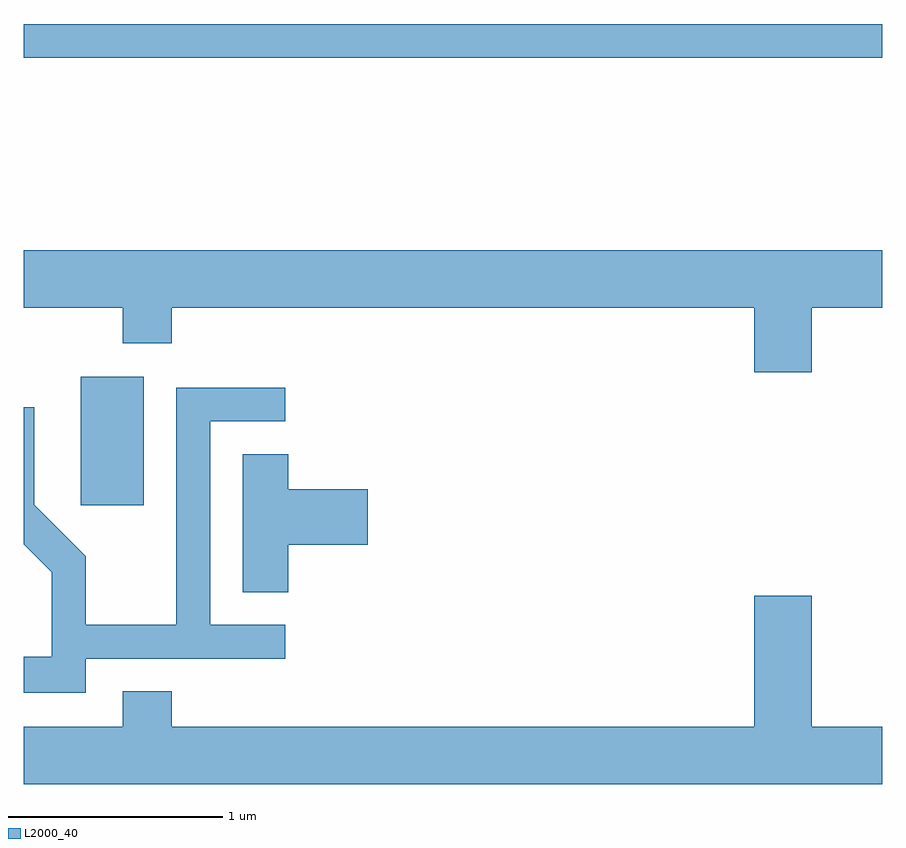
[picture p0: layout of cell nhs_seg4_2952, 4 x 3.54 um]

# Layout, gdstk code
import gdstk
lib = gdstk.Library(unit=1e-6, precision=1e-09)
def R(c, l, rs):  # rectangles x0, y0, x1, y1
    for r in rs: c.add(gdstk.rectangle(r[:2], r[2:], *l))
def P(c, l, *ps):  # polygons
    for p in ps: c.add(gdstk.Polygon(p, *l))
L2000_40 = (2000, 40)

nhs_seg4_2952 = lib.new_cell('nhs_seg4_2952')
R(nhs_seg4_2952, L2000_40, [(271.876,1311.576,272.169,1312.174), (271.611,1313.661,275.611,1313.819)])
P(nhs_seg4_2952, L2000_40, [(275.284,1312.496),(275.611,1312.496),(275.611,1312.764),(271.611,1312.764),(271.611,1312.496),(272.071,1312.496),(272.071,1312.331),(272.299,1312.331),(272.299,1312.496),(275.016,1312.496),(275.016,1312.196),(275.284,1312.196)],
  [(271.899,1310.861),(272.828,1310.861),(272.828,1311.019),(272.479,1311.019),(272.479,1311.966),(272.828,1311.966),(272.828,1312.124),(272.321,1312.124),(272.321,1311.019),(271.899,1311.019),(271.899,1311.337),(271.659,1311.577),(271.659,1312.033),(271.611,1312.033),(271.611,1311.394),(271.741,1311.264),(271.741,1310.869),(271.611,1310.869),(271.611,1310.701),(271.899,1310.701)],
  [(272.844,1311.391),(273.214,1311.391),(273.214,1311.649),(272.844,1311.649),(272.844,1311.814),(272.631,1311.814),(272.631,1311.171),(272.844,1311.171)],
  [(275.611,1310.544),(275.284,1310.544),(275.284,1311.154),(275.016,1311.154),(275.016,1310.544),(272.299,1310.544),(272.299,1310.709),(272.071,1310.709),(272.071,1310.544),(271.611,1310.544),(271.611,1310.276),(275.611,1310.276)])

lib.write_gds('nhs_seg4_2952.gds')
